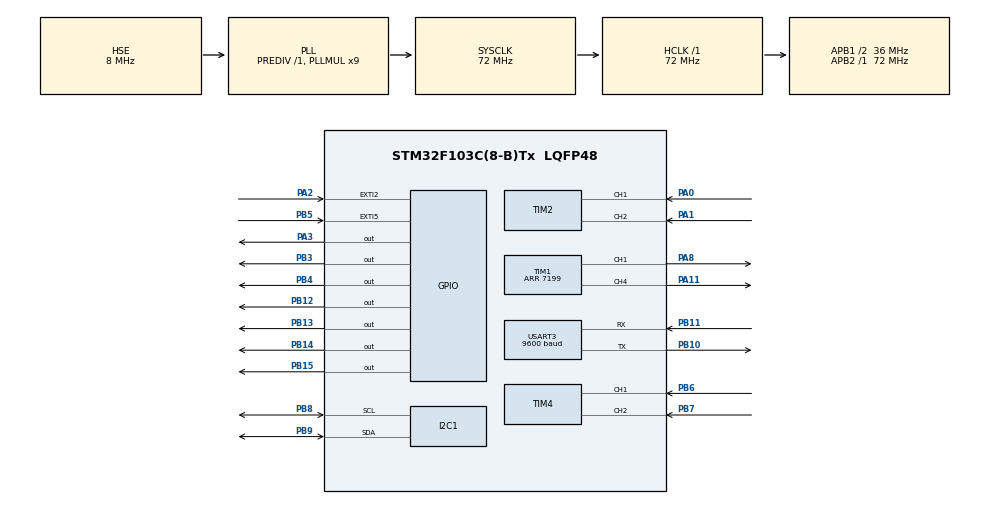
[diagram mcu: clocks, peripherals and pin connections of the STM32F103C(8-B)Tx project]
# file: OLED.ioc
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Mcu.Family=STM32F1
Mcu.Name=STM32F103C(8-B)Tx
Mcu.Package=LQFP48
NVIC.EXTI2_IRQn=true\:0\:0\:false\:false\:true\:true\:true\:true
NVIC.EXTI9_5_IRQn=true\:0\:0\:false\:false\:true\:true\:true\:true
NVIC.PriorityGroup=NVIC_PRIORITYGROUP_4
NVIC.USART3_IRQn=true\:0\:0\:false\:false\:true\:true\:true\:true
PA0-WKUP.Signal=S_TIM2_CH1_ETR
PA1.Signal=S_TIM2_CH2
PA11.Signal=S_TIM1_CH4
PA13.Mode=Serial_Wire
PA13.Signal=SYS_JTMS-SWDIO
PA14.Mode=Serial_Wire
PA14.Signal=SYS_JTCK-SWCLK
PA2.GPIO_ModeDefaultEXTI=GPIO_MODE_IT_RISING_FALLING
PA2.Signal=GPXTI2
PA3.GPIO_Speed=GPIO_SPEED_FREQ_HIGH
PA3.Signal=GPIO_Output
PA8.Signal=S_TIM1_CH1
PB10.Mode=Asynchronous
PB10.Signal=USART3_TX
PB11.Mode=Asynchronous
PB11.Signal=USART3_RX
PB12.Signal=GPIO_Output
PB13.Signal=GPIO_Output
PB14.Signal=GPIO_Output
PB15.Signal=GPIO_Output
PB3.Signal=GPIO_Output
PB4.Signal=GPIO_Output
PB5.GPIO_ModeDefaultEXTI=GPIO_MODE_IT_FALLING
PB5.GPIO_PuPd=GPIO_PULLUP
PB5.Signal=GPXTI5
PB6.Signal=S_TIM4_CH1
PB7.Signal=S_TIM4_CH2
PB8.Mode=I2C
PB8.Signal=I2C1_SCL
PB9.Mode=I2C
PB9.Signal=I2C1_SDA
PC14-OSC32_IN.Mode=LSE-External-Oscillator
PC14-OSC32_IN.Signal=RCC_OSC32_IN
PC15-OSC32_OUT.Mode=LSE-External-Oscillator
PC15-OSC32_OUT.Signal=RCC_OSC32_OUT
PD0-OSC_IN.Mode=HSE-External-Oscillator
PD0-OSC_IN.Signal=RCC_OSC_IN
PD1-OSC_OUT.Mode=HSE-External-Oscillator
PD1-OSC_OUT.Signal=RCC_OSC_OUT
ProjectManager.HeapSize=0x200
ProjectManager.StackSize=0x400
ProjectManager.TargetToolchain=MDK-ARM V5.32
RCC.AHBFreq_Value=72000000
RCC.APB1CLKDivider=RCC_HCLK_DIV2
RCC.APB1Freq_Value=36000000
RCC.APB1TimFreq_Value=72000000
RCC.APB2Freq_Value=72000000
RCC.APB2TimFreq_Value=72000000
RCC.HCLKFreq_Value=72000000
RCC.PLLMUL=RCC_PLL_MUL9
RCC.PLLSourceVirtual=RCC_PLLSOURCE_HSE
RCC.SYSCLKFreq_VALUE=72000000
RCC.SYSCLKSource=RCC_SYSCLKSOURCE_PLLCLK
RCC.USBFreq_Value=72000000
SH.S_TIM1_CH1.0=TIM1_CH1,PWM Generation1 CH1
SH.S_TIM1_CH4.0=TIM1_CH4,PWM Generation4 CH4
SH.S_TIM2_CH1_ETR.0=TIM2_CH1,Encoder_Interface
SH.S_TIM2_CH2.0=TIM2_CH2,Encoder_Interface
SH.S_TIM4_CH1.0=TIM4_CH1,Encoder_Interface
SH.S_TIM4_CH2.0=TIM4_CH2,Encoder_Interface
TIM1.Channel-PWM\ Generation1\ CH1=TIM_CHANNEL_1
TIM1.Channel-PWM\ Generation4\ CH4=TIM_CHANNEL_4
TIM1.Period=7199
TIM1.Pulse-PWM\ Generation1\ CH1=7200
TIM2.EncoderMode=TIM_ENCODERMODE_TI12
TIM3.Prescaler=71
TIM4.EncoderMode=TIM_ENCODERMODE_TI12
USART3.BaudRate=9600
USART3.VirtualMode=VM_ASYNC
VP_TIM3_VS_ClockSourceINT.Mode=Internal
board=custom

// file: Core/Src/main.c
/* USER CODE BEGIN Header */
/**
  ******************************************************************************
  * @file           : main.c
  * @brief          : Main program body
  ******************************************************************************
  * @attention
  *
  * Copyright (c) 2024 STMicroelectronics.
  * All rights reserved.
  *
  * This software is licensed under terms that can be found in the LICENSE file
  * in the root directory of this software component.
  * If no LICENSE file comes with this software, it is provided AS-IS.
  *
  ******************************************************************************
  */
/* USER CODE END Header */
#include "main.h"
#include "i2c.h"
#include "tim.h"
#include "usart.h"
#include "gpio.h"

/* USER CODE BEGIN Includes */
#include "oled.h"
#include "IIC.h"
#include "inv_mpu.h"
#include "inv_mpu_dmp_motion_driver.h"
#include "mpu6050.h"
#include "stdio.h"
#include "sr04.h"
#include "motor.h"
#include "encoder.h"
/* USER CODE END Includes */

/* USER CODE BEGIN PV */
extern float roll;
extern int Encoder_Left,Encoder_Right;
//显示缓冲区
uint8_t display_buf[20];
uint32_t sys_tick;
extern float distance;
extern uint8_t rx_buf[2];
/* USER CODE END PV */

void SystemClock_Config(void);
/* USER CODE BEGIN PFP */
void Read(void);
/* USER CODE END PFP */

int main(void)
{

  /* MCU Configuration--------------------------------------------------------*/

  /* Reset of all peripherals, Initializes the Flash interface and the Systick. */
  HAL_Init();

  /* Configure the system clock */
  SystemClock_Config();

  /* Initialize all configured peripherals */
  MX_GPIO_Init();
  MX_I2C1_Init();
  MX_TIM3_Init();
  MX_TIM1_Init();
  MX_TIM2_Init();
  MX_TIM4_Init();
  MX_USART3_UART_Init();
  /* USER CODE BEGIN 2 */
	OLED_Init();
	OLED_Clear();
	MPU_Init();
	mpu_dmp_init();
	OLED_ShowString(0,00,"Init Sucess",16);
  // 定时器
  // 初始化
	HAL_NVIC_SetPriority(EXTI9_5_IRQn, 0, 0);
  // 使能
  HAL_NVIC_EnableIRQ(EXTI9_5_IRQn);
  // 启动
	HAL_TIM_PWM_Start(&htim1,TIM_CHANNEL_1);
	HAL_TIM_PWM_Start(&htim1,TIM_CHANNEL_4);
  //编码器初始化
	HAL_TIM_Encoder_Start(&htim2,TIM_CHANNEL_ALL);
	HAL_TIM_Encoder_Start(&htim4,TIM_CHANNEL_ALL);
  //串口初始化
	HAL_UART_Receive_IT(&huart3,rx_buf,1);
  //电机初始化
	Load(0,0);
  //清屏
	OLED_Clear();
  /* USER CODE END 2 */

  /* Infinite loop */
  /* USER CODE BEGIN WHILE */
  while (1)
  {
    //显示左轮编码器
    //先存储到字符串数组display_buf中缓存
		sprintf((char *)display_buf,"Encoder_L:%d   ",Encoder_Left);
    //显示到OLED屏幕
		OLED_ShowString(0,0,display_buf,16);
		//显示右轮编码器
		sprintf((char *)display_buf,"Encoder_R:%d   ",Encoder_Right);
		OLED_ShowString(0,2,display_buf,16);
		//显示陀螺仪
		sprintf((char *)display_buf,"roll:%.1f   ",roll);
		OLED_ShowString(0,4,display_buf,16);
    //获取超声波数据
		GET_Distance();
    //显示超声波
		sprintf((char *)display_buf,"distance:%.1f  ",distance);
		OLED_ShowString(0,6,display_buf,12);
    /* USER CODE END WHILE */

  }
}

void SystemClock_Config(void)
{
  RCC_OscInitTypeDef RCC_OscInitStruct = {0};
  RCC_ClkInitTypeDef RCC_ClkInitStruct = {0};

  /** Initializes the RCC Oscillators according to the specified parameters
  * in the RCC_OscInitTypeDef structure.
  */
  RCC_OscInitStruct.OscillatorType = RCC_OSCILLATORTYPE_HSE;
  RCC_OscInitStruct.HSEState = RCC_HSE_ON;
  RCC_OscInitStruct.HSEPredivValue = RCC_HSE_PREDIV_DIV1;
  RCC_OscInitStruct.HSIState = RCC_HSI_ON;
  RCC_OscInitStruct.PLL.PLLState = RCC_PLL_ON;
  RCC_OscInitStruct.PLL.PLLSource = RCC_PLLSOURCE_HSE;
  RCC_OscInitStruct.PLL.PLLMUL = RCC_PLL_MUL9;
  if (HAL_RCC_OscConfig(&RCC_OscInitStruct) != HAL_OK)
  {
    Error_Handler();
  }

  /** Initializes the CPU, AHB and APB buses clocks
  */
  RCC_ClkInitStruct.ClockType = RCC_CLOCKTYPE_HCLK|RCC_CLOCKTYPE_SYSCLK
                              |RCC_CLOCKTYPE_PCLK1|RCC_CLOCKTYPE_PCLK2;
  RCC_ClkInitStruct.SYSCLKSource = RCC_SYSCLKSOURCE_PLLCLK;
  RCC_ClkInitStruct.AHBCLKDivider = RCC_SYSCLK_DIV1;
  RCC_ClkInitStruct.APB1CLKDivider = RCC_HCLK_DIV2;
  RCC_ClkInitStruct.APB2CLKDivider = RCC_HCLK_DIV1;

  if (HAL_RCC_ClockConfig(&RCC_ClkInitStruct, FLASH_LATENCY_2) != HAL_OK)
  {
    Error_Handler();
  }
}

void Error_Handler(void)
{
  __disable_irq();
  while (1)
  {
  }
}
